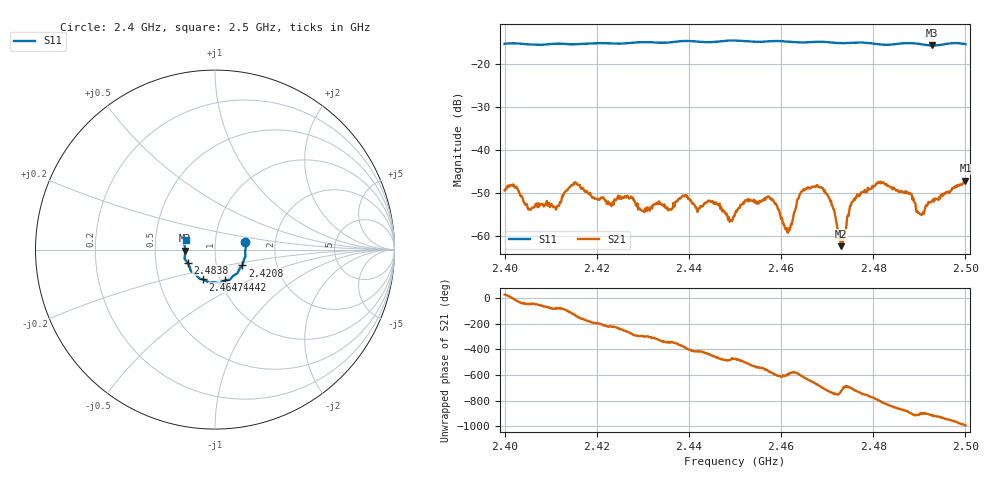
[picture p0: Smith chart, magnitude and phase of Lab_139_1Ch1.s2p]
# Hz S RI R 50
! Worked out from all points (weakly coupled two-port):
!   601 points, 2.4 GHz to 2.5 GHz, reference 50 ohm
!   highest |S21| = -47.04 dB at 2.5 GHz (marker M1); lowest = -62.3 dB at 2.473 GHz (marker M2)
!   lowest |S11| = -15.6 dB at 2.4928 GHz (marker M3), VSWR 1.40, Z = 35.8 - j0.417 ohm
!   |S11| at or under -10 dB: start of sweep to end of sweep
!   S12 and S22 are empty: the file has one direction only
!   S11 on the Smith chart (normalised r, x): 2.4 GHz: 1.40, +0.12; 2.4208 GHz: 1.33, -0.24; 2.4442 GHz: 1.05, -0.37; 2.4647 GHz: 0.83, -0.29; 2.4838 GHz: 0.73, -0.11; 2.5 GHz: 0.71, +0.07
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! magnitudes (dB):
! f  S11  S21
! 2.4 GHz  -15.2  -49.3
! 2.4023 GHz  -15.1  -48.7
! 2.4057 GHz  -15.4  -53.8
! 2.4113 GHz  -15.2  -53.1
! 2.4167 GHz  -15.3  -49.0
! 2.4208 GHz  -15.1  -51.1
! 2.4333 GHz  -15.0  -52.5
! 2.4442 GHz  -14.9  -51.7
! 2.45 GHz  -14.5  -54.9
! 2.4573 GHz  -14.7  -50.7
! 2.4615 GHz  -14.7  -59.2
! 2.4647 GHz  -14.9  -49.4
! 2.4667 GHz  -14.8  -48.4
! 2.4703 GHz  -14.9  -50.9
! 2.473 GHz  -15.1  -62.3
! 2.476 GHz  -15.0  -51.5
! 2.4833 GHz  -15.5  -48.3
! 2.4838 GHz  -15.4  -48.6
! 2.4878 GHz  -15.1  -49.9
! 2.4902 GHz  -15.3  -54.8
! 2.4928 GHz  -15.6  -51.6
! 2.5 GHz  -15.3  -47.0
